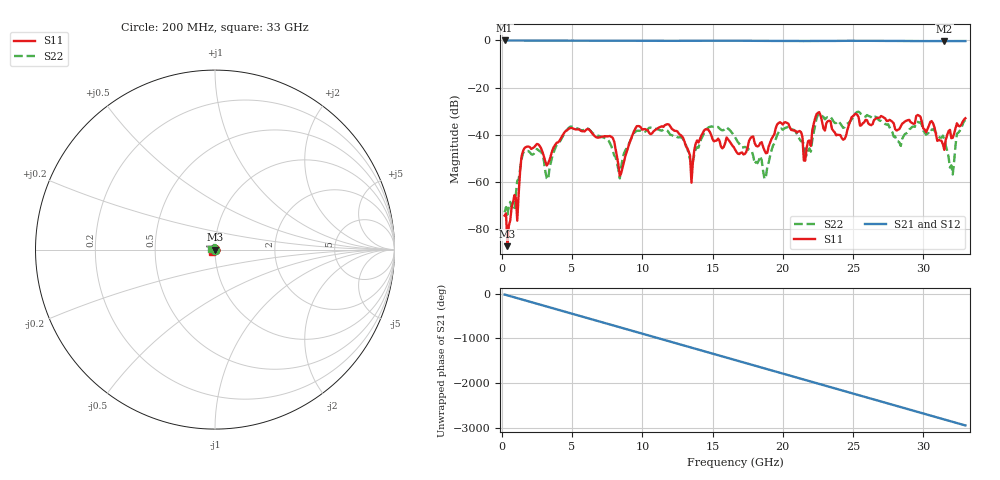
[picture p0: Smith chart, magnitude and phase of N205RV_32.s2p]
# GHZ S RI R 50
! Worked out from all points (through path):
!   329 points, 200 MHz to 33 GHz, reference 50 ohm
!   highest |S21| = -0.02 dB at 200 MHz (marker M1); lowest = -0.3 dB at 31.5 GHz (marker M2)
!   group delay of S21, straight-line fit = 248 ps
!   lowest |S11| = -87.3 dB at 400 MHz (marker M3), VSWR 1.00, Z = 50 + j0.0042 ohm
!   |S11| at or under -10 dB: start of sweep to end of sweep
!   |S22| runs from -74.0 to -30.3 dB; largest |S21 - S12| = 0.0019
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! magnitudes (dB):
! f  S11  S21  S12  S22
! 200 MHz  -74.3  0.0  0.0  -73.0
! 400 MHz  -87.3  0.0  0.0  -74.0
! 1.1 GHz  -76.5  -0.1  -0.1  -59.6
! 1.6 GHz  -45.8  -0.1  -0.1  -47.1
! 3.3 GHz  -52.1  -0.1  -0.1  -59.0
! 5.7 GHz  -38.5  -0.1  -0.1  -38.1
! 7.9 GHz  -41.4  -0.1  -0.1  -46.8
! 8.4 GHz  -57.5  -0.1  -0.1  -58.6
! 9.6 GHz  -36.4  -0.2  -0.2  -38.4
! 11.2 GHz  -36.9  -0.2  -0.2  -38.0
! 12.9 GHz  -41.3  -0.2  -0.2  -41.8
! 13.5 GHz  -60.4  -0.2  -0.2  -53.1
! 14.5 GHz  -37.7  -0.1  -0.1  -38.4
! 16.6 GHz  -46.3  -0.1  -0.1  -41.0
! 18.7 GHz  -46.7  -0.2  -0.2  -58.8
! 19.9 GHz  -35.1  -0.2  -0.2  -37.4
! 21.5 GHz  -51.0  -0.3  -0.3  -44.0
! 22.1 GHz  -38.3  -0.2  -0.2  -42.3
! 27.6 GHz  -33.7  -0.2  -0.2  -36.9
! 31.5 GHz  -46.4  -0.3  -0.3  -42.1
! 32.1 GHz  -41.3  -0.3  -0.3  -56.9
! 33 GHz  -33.0  -0.3  -0.3  -33.8
